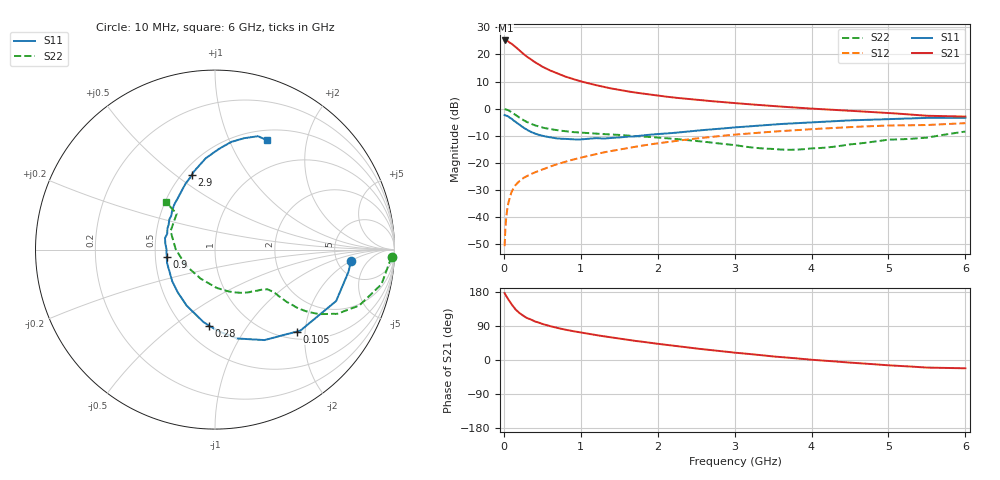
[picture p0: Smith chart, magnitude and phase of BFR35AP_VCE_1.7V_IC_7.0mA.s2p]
! Infineon Technologies  Discrete & RF Semiconductors
! BFR35AP
! VCE =  1.7 V,  IC =  7.0 mA
! Common Emitter S-Parameters:  Nov 2015
# GHz  S  MA  R  50
!  f  S11  S21  S12  S22
! GHz  MAG  ANG  MAG  ANG  MAG  ANG  MAG  ANG
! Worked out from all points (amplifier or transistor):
!   210 points, 10 MHz to 6 GHz, reference 50 ohm
!   highest |S21| = 25.2 dB at 20 MHz (marker M1)
!   |S21| within 3 dB of that: start of sweep to 176.6 MHz
!   unconditionally stable (mu >= 1): 641.6 MHz to 4.144 GHz; 5.277 GHz to 5.847 GHz
!   at 185 MHz: K = 0.48, MSG = 24.6 dB, |S12| = -27.2 dB
!   at 1.52 GHz: K = 1.14, MAG = 8.7 dB, |S12| = -15.0 dB
!   at 6 GHz: K = 0.99, MSG = 1.2 dB, |S12| = -5.3 dB
!   S11 on the Smith chart (normalised r, x): 10 MHz: 6.70, -2.02; 105 MHz: 1.16, -1.81; 280 MHz: 0.66, -0.68; 900 MHz: 0.58, -0.05; 2.9 GHz: 0.56, +0.58; 6 GHz: 0.62, +1.40
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0.01  0.7597 -4.8  18.09 176.5  0.0029 84.1  0.9853 -2.4
0.02  0.7542 -9.4  18.12 172.5  0.0062 86.6  0.972 -4.7
0.05  0.7332 -23.0  17.66 162.2  0.0157 78.2  0.9479 -11.7
0.1  0.6557 -43.5  15.81 147.0  0.0289 68.9  0.8619 -21.2
0.105  0.6451 -45.1  15.58 145.8  0.0299 68.2  0.8522 -21.8
0.15  0.5747 -61.3  13.87 133.6  0.0387 63.5  0.7694 -27.7
0.2  0.511 -75.8  12 124.4  0.0456 59.8  0.684 -31.7
0.24  0.4634 -85.3  10.67 118.6  0.0508 57.9  0.6317 -33.5
0.28  0.4249 -94.4  9.593 113.4  0.055 57.4  0.5879 -34.7
0.3  0.4089 -99.1  9.105 110.8  0.0569 57.4  0.5675 -35.2
0.4  0.3494 -117.0  7.269 102.1  0.0664 57.0  0.4938 -36.1
0.5  0.3162 -130.9  5.954 95.0  0.0752 57.7  0.4471 -36.1
0.7  0.2809 -155.1  4.426 84.3  0.095 58.7  0.3987 -36.1
0.9  0.2714 -171.8  3.506 76.0  0.1149 59.2  0.3695 -36.9
1.02  0.272 178.1  3.137 71.8  0.1267 59.1  0.3592 -38.0
1.4  0.2902 156.0  2.35 59.5  0.1659 57.5  0.3336 -43.0
2.02  0.3412 130.9  1.727 42.3  0.231 52.4  0.2916 -55.2
2.9  0.4371 107.0  1.302 21.7  0.3216 42.4  0.2197 -83.4
3.1  0.4614 103.1  1.234 17.6  0.3403 39.6  0.2026 -92.8
4.1  0.5688 86.6  0.983 -0.7  0.4263 26.4  0.1872 -157.8
5.1  0.6474 74.1  0.814 -15.1  0.4904 12.6  0.27 153.1
6  0.6755 64.4  0.714 -21.9  0.5403 2.7  0.3778 135.9
